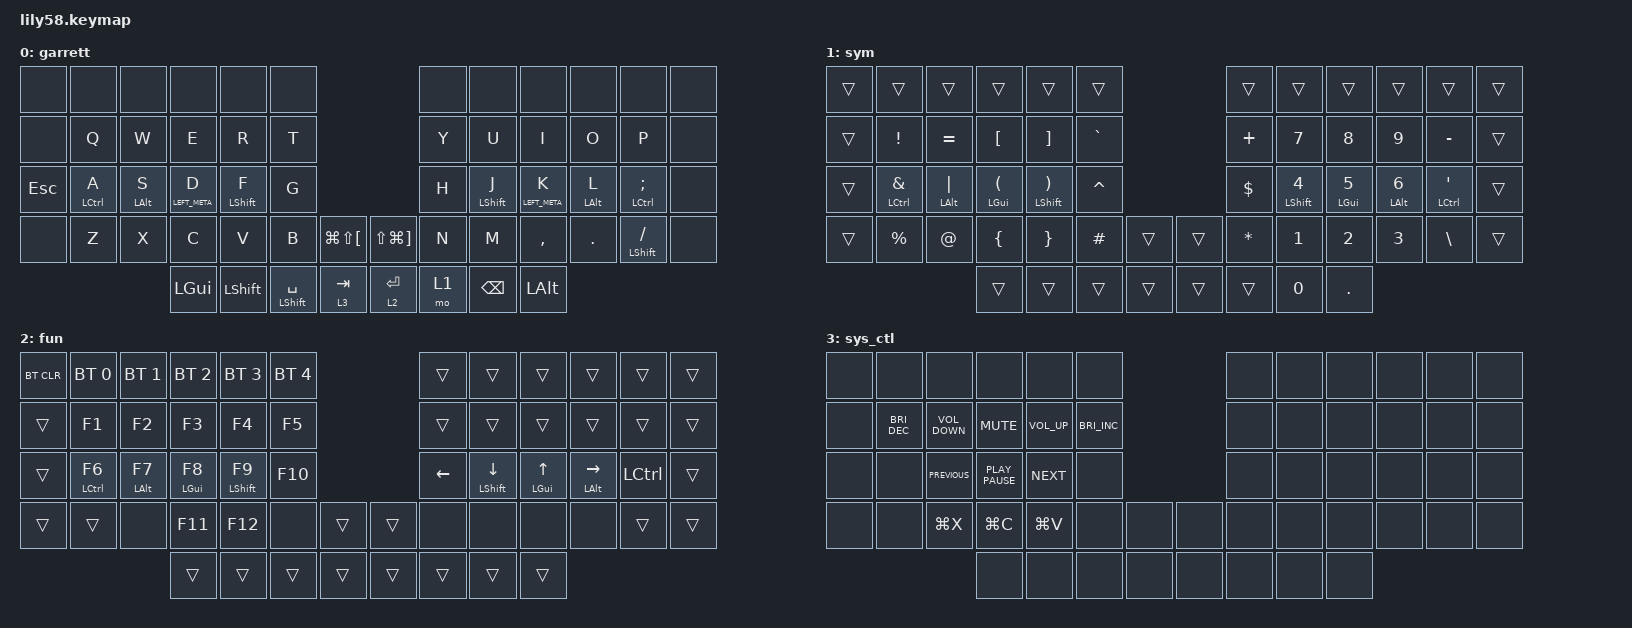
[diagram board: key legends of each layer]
/*
 * Copyright (c) 2020 The ZMK Contributors
 *
 * SPDX-License-Identifier: MIT
 */

#include <behaviors.dtsi>
#include <dt-bindings/zmk/bt.h>
#include <dt-bindings/zmk/keys.h>

/ {
    combos { compatible = "zmk,combos"; };

    keymap {
        compatible = "zmk,keymap";

        default_layer {
            // ------------------------------------------------------------------------------------------------------------
            // |  ESC  |  1  |  2  |  3   |  4   |  5   |                   |  6   |  7    |  8    |  9   |   0   |   `   |
            // |  TAB  |  Q  |  W  |  E   |  R   |  T   |                   |  Y   |  U    |  I    |  O   |   P   |   -   |
            // |  CTRL |  A  |  S  |  D   |  F   |  G   |                   |  H   |  J    |  K    |  L   |   ;   |   '   |
            // | SHIFT |  Z  |  X  |  C   |  V   |  B   |   "["  |  |  "]"  |  N   |  M    |  ,    |  .   |   /   | SHIFT |
            //                     | ALT  | GUI  | LOWER|  SPACE |  | ENTER | RAISE| BSPC  | GUI   |

            display-name = "garrett";
            bindings = <
&none       &none        &none           &none            &none             &none                                                                        &none  &none             &none            &none           &none                       &none
&none       &kp Q        &kp W           &kp E            &kp R             &kp T                                                                        &kp Y  &kp U             &kp I            &kp O           &kp P                       &none
&kp ESCAPE  &mt LCTRL A  &mt LEFT_ALT S  &mt LEFT_META D  &mt LEFT_SHIFT F  &kp G                                                                        &kp H  &mt LEFT_SHIFT J  &mt LEFT_META K  &mt LEFT_ALT L  &mt LEFT_CONTROL SEMICOLON  &none
&none       &kp Z        &kp X           &kp C            &kp V             &kp B                 &kp LG(LS(LEFT_BRACKET))    &kp LS(LG(RIGHT_BRACKET))  &kp N  &kp M             &kp COMMA        &kp DOT         &mt LEFT_SHIFT SLASH        &none
                                         &kp LEFT_GUI     &kp LEFT_SHIFT    &mt LEFT_SHIFT SPACE  &lt 3 TAB                   &lt 2 ENTER                &mo 1  &kp BACKSPACE     &kp LEFT_ALT
            >;
        };

        symbols {
            // ------------------------------------------------------------------------------------------------------------
            // |       |     |     |      |      |      |                   |      |       |       |      |       |       |
            // |   `   |  1  |  2  |  3   |  4   |  5   |                   |  6   |   7   |   8   |  9   |   0   |       |
            // |   F1  |  F2 |  F3 |  F4  |  F5  |  F6  |                   |      |   <-  |   v   |  ^   |  ->   |       |
            // |   F7  |  F8 |  F9 |  F10 |  F11 |  F12 |        |  |       |  +   |   -   |   =   |  [   |   ]   |   \   |
            //                     |      |      |      |        |  |       |      |       |       |

            display-name = "sym";
            bindings = <
&trans  &trans                      &trans             &trans                         &trans                            &trans                       &trans        &trans                   &trans                 &trans                 &trans                &trans
&trans  &kp EXCLAMATION             &kp EQUAL          &kp LEFT_BRACKET               &kp RIGHT_BRACKET                 &kp GRAVE                    &kp PLUS      &kp NUMBER_7             &kp NUMBER_8           &kp NUMBER_9           &kp MINUS             &trans
&trans  &mt LEFT_CONTROL AMPERSAND  &mt LEFT_ALT PIPE  &mt LEFT_GUI LEFT_PARENTHESIS  &mt LEFT_SHIFT RIGHT_PARENTHESIS  &kp CARET                    &kp DOLLAR    &mt LEFT_SHIFT NUMBER_4  &mt LEFT_GUI NUMBER_5  &mt LEFT_ALT NUMBER_6  &mt LEFT_CONTROL SQT  &trans
&trans  &kp PERCENT                 &kp AT_SIGN        &kp LEFT_BRACE                 &kp RIGHT_BRACE                   &kp HASH   &trans    &trans  &kp ASTERISK  &kp NUMBER_1             &kp NUMBER_2           &kp NUMBER_3           &kp BACKSLASH         &trans
                                                       &trans                         &trans                            &trans     &trans    &trans  &trans        &kp NUMBER_0             &kp PERIOD
            >;
        };

        function {
            // ------------------------------------------------------------------------------------------------------------
            // | BTCLR | BT1 | BT2 |  BT3 |  BT4 |  BT5 |                   |      |       |       |      |       |       |
            // |  F1   |  F2 |  F3 |  F4  |  F5  |  F6  |                   |  F7  |  F8   |  F9   |  F10 |  F11  |  F12  |
            // |   `   |  !  |  @  |  #   |  $   |  %   |                   |  ^   |  &    |  *    |  (   |   )   |   ~   |
            // |       |     |     |      |      |      |        |  |       |      |  _    |  +    |  {   |   }   |  "|"  |
            //                     |      |      |      |        |  |       |      |       |       |

            display-name = "fun";
            bindings = <
&bt BT_CLR  &bt BT_SEL 0         &bt BT_SEL 1     &bt BT_SEL 2     &bt BT_SEL 3       &bt BT_SEL 4                    &trans    &trans                     &trans                 &trans              &trans            &trans
&trans      &kp F1               &kp F2           &kp F3           &kp F4             &kp F5                          &trans    &trans                     &trans                 &trans              &trans            &trans
&trans      &mt LEFT_CONTROL F6  &mt LEFT_ALT F7  &mt LEFT_GUI F8  &mt LEFT_SHIFT F9  &kp F10                         &kp LEFT  &mt LEFT_SHIFT DOWN_ARROW  &mt LEFT_GUI UP_ARROW  &mt LEFT_ALT RIGHT  &kp LEFT_CONTROL  &trans
&trans      &trans               &none            &kp F11          &kp F12            &none         &trans    &trans  &none     &none                      &none                  &none               &trans            &trans
                                                  &trans           &trans             &trans        &trans    &trans  &trans    &trans                     &trans
            >;
        };

        sys_ctl {
            bindings = <
&none  &none                 &none              &none             &none            &none                                 &none  &none  &none  &none  &none  &none
&none  &kp C_BRIGHTNESS_DEC  &kp K_VOLUME_DOWN  &kp K_MUTE        &kp K_VOLUME_UP  &kp C_BRIGHTNESS_INC                  &none  &none  &none  &none  &none  &none
&none  &none                 &kp K_PREVIOUS     &kp K_PLAY_PAUSE  &kp K_NEXT       &none                                 &none  &none  &none  &none  &none  &none
&none  &none                 &kp LG(X)          &kp LG(C)         &kp LG(V)        &none                 &none    &none  &none  &none  &none  &none  &none  &none
                                                &none             &none            &none                 &none    &none  &none  &none  &none
            >;
        };
    };
};
